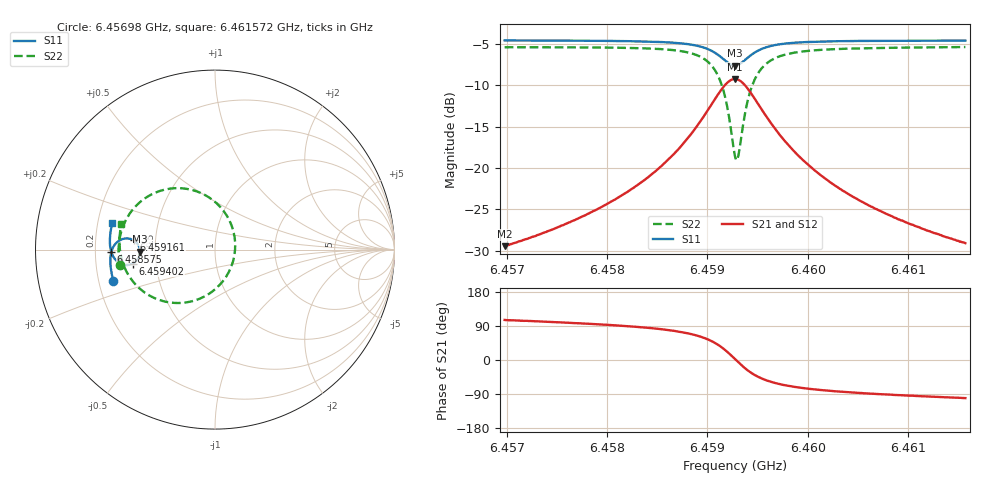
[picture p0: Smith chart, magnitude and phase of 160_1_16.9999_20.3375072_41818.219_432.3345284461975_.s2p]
#  HZ  S  RI  R  50.00
! Rohde & Schwarz Vector Network Analyzer
! Rohde-Schwarz,ZNB20-2Port,1311601062101988,3.16
! Created: UTC 3/20/2024, 10:59:12 PM
! freq[Hz]  re:S11  im:S11  re:S21  im:S21  re:S12  im:S12  re:S22  im:S22
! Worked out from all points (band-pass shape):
!   401 points, 6.45698 GHz to 6.461572 GHz, reference 50 ohm
!   highest |S21| = -9.22 dB at 6.459276 GHz (marker M1); lowest = -29.4 dB at 6.45698 GHz (marker M2)
!   |S21| within 3 dB of the highest: 6.459046 GHz to 6.459505 GHz (459.5 kHz wide, 0.00711 % of centre)
!   lowest |S11| = -7.6 dB at 6.459276 GHz (marker M3), VSWR 2.43, Z = 20.6 - j0.59 ohm
!   |S11| at or under -10 dB: nowhere
!   |S22| runs from -19.0 to -5.3 dB; largest |S21 - S12| = 0.013
!   S11 on the Smith chart (normalised r, x): 6.45698 GHz: 0.26, -0.14; 6.458575 GHz: 0.27, -0.01; 6.459161 GHz: 0.37, +0.05; 6.459402 GHz: 0.37, -0.07; 6.461572 GHz: 0.26, +0.12
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6.4569797e9  -0.5662 -0.1733  -0.00911 0.0325  -0.00728 0.0325  -0.5317 -0.0859
6.4577488e9  -0.5803 -0.1061  -0.00572 0.0504  -0.00318 0.0498  -0.5375 0.00427
6.4581851e9  -0.5833 -0.0621  0.000385 0.0708  0.00367 0.0693  -0.5289 0.0736
6.458518e9  -0.5796 -0.0221  0.0141 0.0989  0.0179 0.0963  -0.5042 0.1493
6.4585754e9  -0.5777 -0.0142  0.0184 0.1059  0.0224 0.1029  -0.4961 0.1658
6.458782e9  -0.5648 0.018  0.0458 0.1384  0.0499 0.1336  -0.4446 0.2388
6.4589313e9  -0.5421 0.0444  0.0912 0.1692  0.0945 0.1625  -0.3611 0.3034
6.459069e9  -0.498 0.0619  0.1787 0.1858  0.1796 0.1785  -0.2016 0.3421
6.4591609e9  -0.4533 0.0516  0.269 0.1545  0.2692 0.1486  -0.0347 0.2918
6.4592297e9  -0.424 0.0194  0.3295 0.0823  0.3316 0.0771  0.0805 0.162
6.4592756e9  -0.4172 -0.0118  0.3457 0.0144  0.3496 0.00728  0.1125 0.035
6.4592871e9  -0.4176 -0.0199  0.3454 -0.00343  0.3494 -0.011  0.1119 0.00128
6.4593101e9  -0.4211 -0.0355  0.3399 -0.0381  0.3438 -0.0473  0.1008 -0.0644
6.459356e9  -0.4369 -0.0616  0.3112 -0.0981  0.3135 -0.1098  0.043 -0.1772
6.4594019e9  -0.459 -0.0781  0.2692 -0.1391  0.2684 -0.1522  -0.042 -0.2519
6.4594938e9  -0.5023 -0.0849  0.1845 -0.1702  0.1783 -0.1817  -0.2105 -0.2976
6.459643e9  -0.5465 -0.0645  0.0966 -0.1565  0.0882 -0.1626  -0.3777 -0.2484
6.4598037e9  -0.5681 -0.0369  0.0516 -0.1286  0.0441 -0.1314  -0.458 -0.1765
6.4600448e9  -0.5809 -0.00128  0.0226 -0.0973  0.0168 -0.0978  -0.5061 -0.0946
6.4603777e9  -0.5855 0.0384  0.00679 -0.0711  0.0027 -0.0707  -0.5274 -0.0177
6.460814e9  -0.5838 0.0824  -0.00127 -0.0519  -0.00411 -0.0511  -0.5322 0.0524
6.4615716e9  -0.5719 0.1496  -0.00644 -0.0346  -0.00807 -0.0337  -0.5212 0.142
